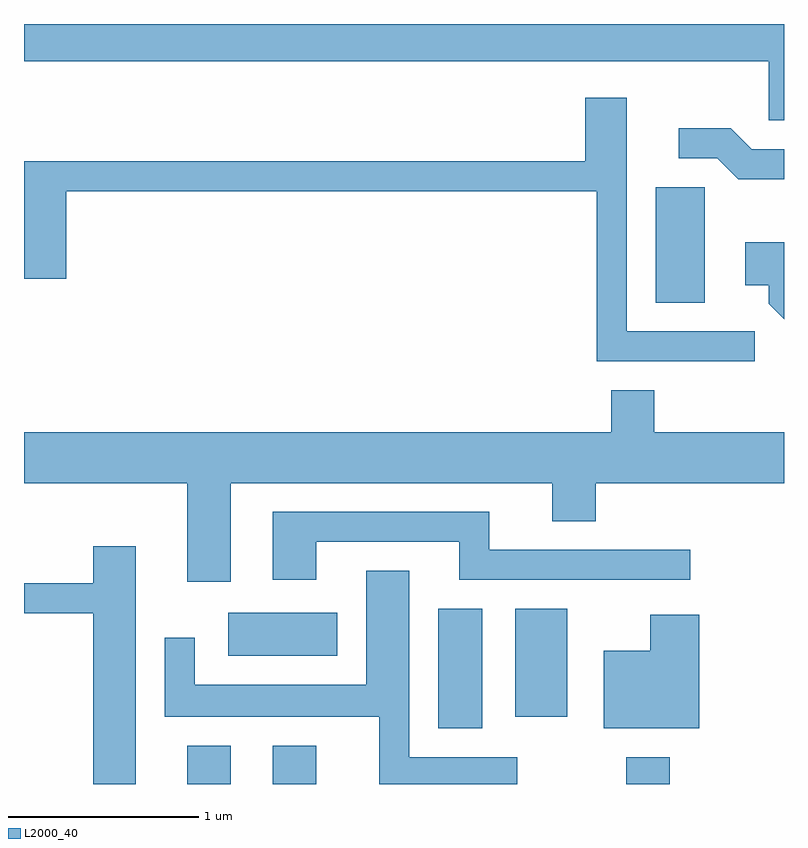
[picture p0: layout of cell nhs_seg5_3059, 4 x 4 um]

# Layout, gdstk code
import gdstk
lib = gdstk.Library(unit=1e-6, precision=1e-09)
def R(c, l, rs):  # rectangles x0, y0, x1, y1
    for r in rs: c.add(gdstk.rectangle(r[:2], r[2:], *l))
def P(c, l, *ps):  # polygons
    for p in ps: c.add(gdstk.Polygon(p, *l))
L2000_40 = (2000, 40)

nhs_seg5_3059 = lib.new_cell('nhs_seg5_3059')
R(nhs_seg5_3059, L2000_40, [(276.471,1484.072,276.699,1484.274), (276.921,1484.072,277.149,1484.274), (278.781,1484.072,279.009,1484.214), (277.791,1484.366,278.024,1484.994), (278.196,1484.426,278.469,1484.994), (276.686,1484.746,277.259,1484.974), (278.936,1486.606,279.194,1487.214)])
P(nhs_seg5_3059, L2000_40, [(279.611,1488.072),(275.611,1488.072),(275.611,1487.876),(279.531,1487.876),(279.531,1487.566),(279.611,1487.566)],
  [(279.458,1486.454),(278.784,1486.454),(278.784,1487.684),(278.566,1487.684),(278.566,1487.349),(275.611,1487.349),(275.611,1486.731),(275.834,1486.731),(275.834,1487.191),(278.626,1487.191),(278.626,1486.296),(279.458,1486.296)],
  [(279.611,1487.414),(279.442,1487.414),(279.332,1487.524),(279.058,1487.524),(279.058,1487.366),(279.259,1487.366),(279.369,1487.256),(279.611,1487.256)],
  [(279.611,1486.924),(279.406,1486.924),(279.406,1486.696),(279.531,1486.696),(279.531,1486.599),(279.611,1486.519)],
  [(276.699,1485.656),(278.391,1485.656),(278.391,1485.456),(278.619,1485.456),(278.619,1485.656),(279.611,1485.656),(279.611,1485.924),(278.929,1485.924),(278.929,1486.144),(278.701,1486.144),(278.701,1485.924),(275.611,1485.924),(275.611,1485.656),(276.471,1485.656),(276.471,1485.136),(276.699,1485.136)],
  [(277.149,1485.346),(277.901,1485.346),(277.901,1485.146),(279.118,1485.146),(279.118,1485.304),(278.059,1485.304),(278.059,1485.504),(276.921,1485.504),(276.921,1485.146),(277.149,1485.146)],
  [(276.199,1485.324),(275.976,1485.324),(275.976,1485.129),(275.611,1485.129),(275.611,1484.971),(275.976,1484.971),(275.976,1484.072),(276.199,1484.072)],
  [(278.208,1484.214),(277.639,1484.214),(277.639,1485.194),(277.411,1485.194),(277.411,1484.594),(276.509,1484.594),(276.509,1484.843),(276.351,1484.843),(276.351,1484.426),(277.481,1484.426),(277.481,1484.072),(278.208,1484.072)],
  [(279.164,1484.964),(278.906,1484.964),(278.906,1484.774),(278.661,1484.774),(278.661,1484.366),(279.164,1484.366)])

lib.write_gds('nhs_seg5_3059.gds')
